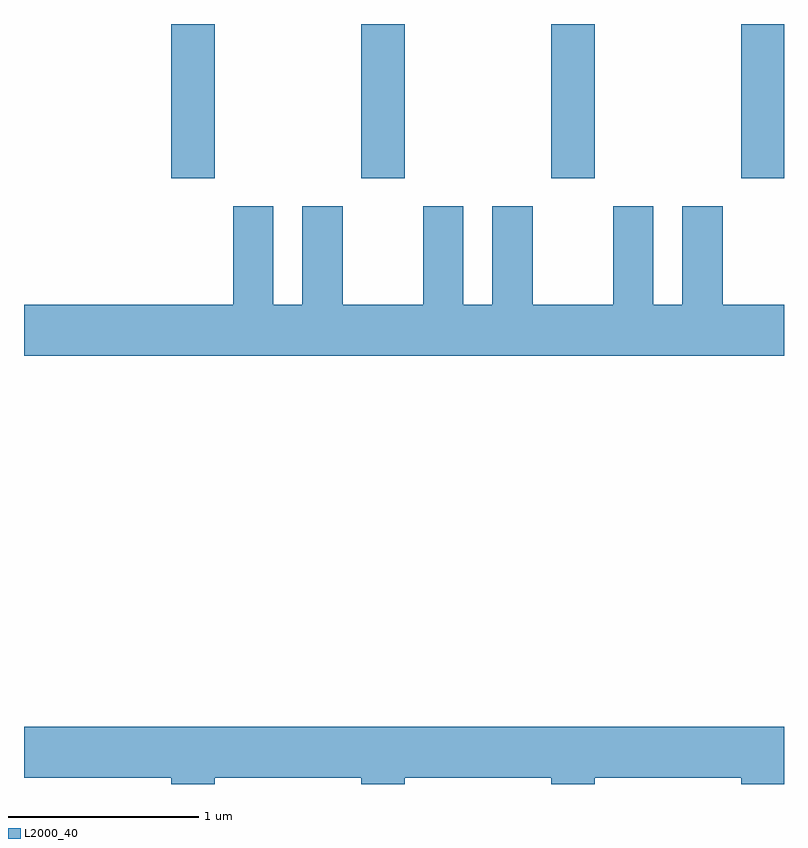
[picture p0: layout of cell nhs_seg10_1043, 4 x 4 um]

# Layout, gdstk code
import gdstk
lib = gdstk.Library(unit=1e-6, precision=1e-09)
def R(c, l, rs):  # rectangles x0, y0, x1, y1
    for r in rs: c.add(gdstk.rectangle(r[:2], r[2:], *l))
def A(c, l, x, y, w, h, nx, ny, dx, dy):  # array of equal rectangles
    R(c, l, [(x+i*dx, y+j*dy, x+i*dx+w, y+j*dy+h) for i in range(nx) for j in range(ny)])
def P(c, l, *ps):  # polygons
    for p in ps: c.add(gdstk.Polygon(p, *l))
L2000_40 = (2000, 40)

nhs_seg10_1043 = lib.new_cell('nhs_seg10_1043')
A(nhs_seg10_1043, L2000_40, 216.386, 2143.711, 0.228, 0.811, 3, 1, 1, 0)
R(nhs_seg10_1043, L2000_40, [(219.386,2143.711,219.611,2144.522)])
P(nhs_seg10_1043, L2000_40, [(219.611,2143.044),(219.289,2143.044),(219.289,2143.564),(219.076,2143.564),(219.076,2143.044),(218.924,2143.044),(218.924,2143.564),(218.711,2143.564),(218.711,2143.044),(218.289,2143.044),(218.289,2143.564),(218.076,2143.564),(218.076,2143.044),(217.924,2143.044),(217.924,2143.564),(217.711,2143.564),(217.711,2143.044),(217.289,2143.044),(217.289,2143.564),(217.076,2143.564),(217.076,2143.044),(216.924,2143.044),(216.924,2143.564),(216.711,2143.564),(216.711,2143.044),(215.611,2143.044),(215.611,2142.776),(219.611,2142.776)],
  [(216.614,2140.556),(217.386,2140.556),(217.386,2140.522),(217.614,2140.522),(217.614,2140.556),(218.386,2140.556),(218.386,2140.522),(218.614,2140.522),(218.614,2140.556),(219.386,2140.556),(219.386,2140.522),(219.611,2140.522),(219.611,2140.824),(215.611,2140.824),(215.611,2140.556),(216.386,2140.556),(216.386,2140.522),(216.614,2140.522)])

lib.write_gds('nhs_seg10_1043.gds')
